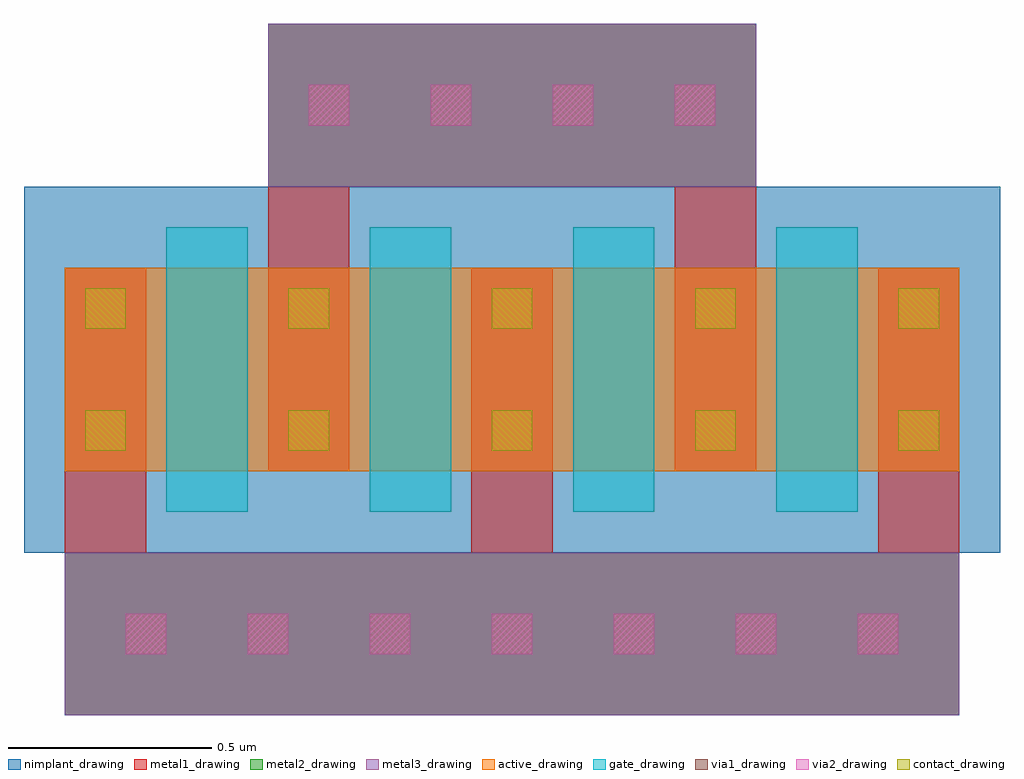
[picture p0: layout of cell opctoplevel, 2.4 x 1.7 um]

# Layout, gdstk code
import gdstk
lib = gdstk.Library(unit=1e-6, precision=1e-09)
def R(c, l, rs):  # rectangles x0, y0, x1, y1
    for r in rs: c.add(gdstk.rectangle(r[:2], r[2:], *l))
def A(c, l, x, y, w, h, nx, ny, dx, dy):  # array of equal rectangles
    R(c, l, [(x+i*dx, y+j*dy, x+i*dx+w, y+j*dy+h) for i in range(nx) for j in range(ny)])
active_drawing = (1, 0)
nimplant_drawing = (5, 0)
gate_drawing = (6, 0)
contact_drawing = (7, 0)
metal1_drawing = (8, 0)
via1_drawing = (9, 0)
metal2_drawing = (10, 0)
via2_drawing = (11, 0)
metal3_drawing = (12, 0)

opctoplevel = lib.new_cell('opctoplevel')
R(opctoplevel, active_drawing, [(-0.25,0,1.95,0.5)])
R(opctoplevel, nimplant_drawing, [(-0.35,-0.2,2.05,0.7)])
A(opctoplevel, gate_drawing, 0, -0.1, 0.2, 0.7, 4, 1, 0.5, 0)
A(opctoplevel, contact_drawing, -0.2, 0.05, 0.1, 0.1, 5, 2, 0.5, 0.3)
A(opctoplevel, metal1_drawing, -0.25, -0.2, 0.2, 0.2, 3, 1, 1, 0)
A(opctoplevel, metal1_drawing, -0.25, 0, 0.2, 0.5, 5, 1, 0.5, 0)
R(opctoplevel, metal1_drawing, [(-0.25,-0.6,1.95,-0.2), (0.25,0.5,0.45,0.7), (1.25,0.5,1.45,0.7), (0.25,0.7,1.45,1.1)])
A(opctoplevel, via1_drawing, -0.1, -0.45, 0.1, 0.1, 7, 1, 0.3, 0)
A(opctoplevel, via1_drawing, 0.35, 0.85, 0.1, 0.1, 4, 1, 0.3, 0)
R(opctoplevel, metal2_drawing, [(-0.25,-0.6,1.95,-0.2), (0.25,0.7,1.45,1.1)])
A(opctoplevel, via2_drawing, -0.1, -0.45, 0.1, 0.1, 7, 1, 0.3, 0)
A(opctoplevel, via2_drawing, 0.35, 0.85, 0.1, 0.1, 4, 1, 0.3, 0)
R(opctoplevel, metal3_drawing, [(-0.25,-0.6,1.95,-0.2), (0.25,0.7,1.45,1.1)])

lib.write_gds('opctoplevel.gds')
